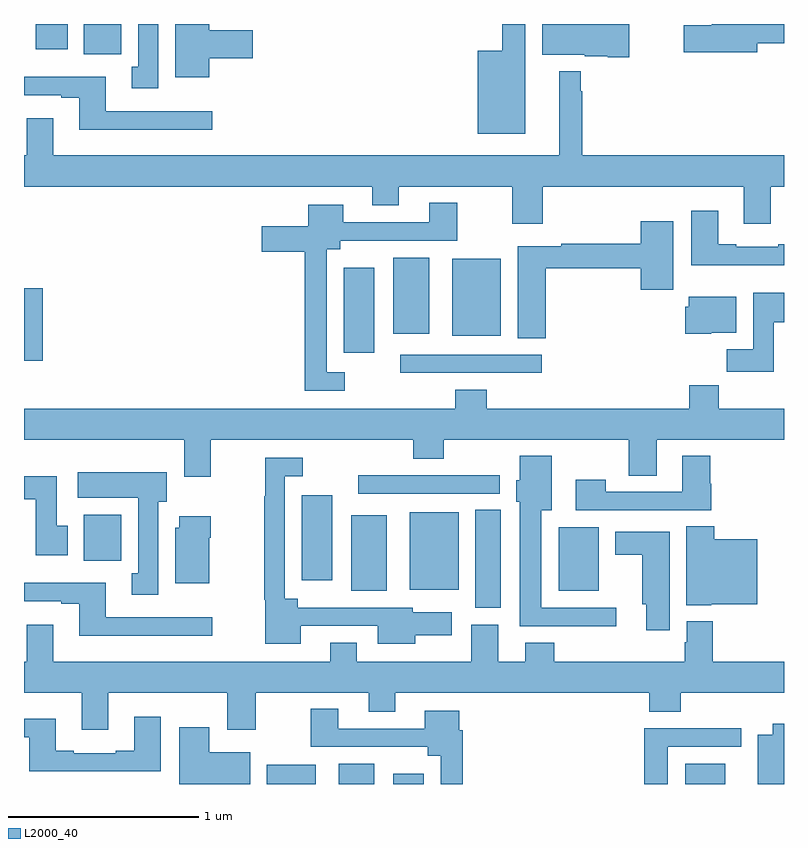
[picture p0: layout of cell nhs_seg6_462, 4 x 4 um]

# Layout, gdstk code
import gdstk
lib = gdstk.Library(unit=1e-6, precision=1e-09)
def R(c, l, rs):  # rectangles x0, y0, x1, y1
    for r in rs: c.add(gdstk.rectangle(r[:2], r[2:], *l))
def P(c, l, *ps):  # polygons
    for p in ps: c.add(gdstk.Polygon(p, *l))
L2000_40 = (2000, 40)

nhs_seg6_462 = lib.new_cell('nhs_seg6_462')
R(nhs_seg6_462, L2000_40, [(138.278,969.5,138.535,969.601), (138.656,969.5,138.844,969.607), (138.944,969.5,139.105,969.553), (140.48,969.5,140.692,969.607), (139.376,970.427,139.51,970.943), (138.722,970.517,138.91,970.915), (139.814,970.517,140.026,970.852), (139.031,970.523,139.288,970.93), (138.461,970.572,138.622,971.02), (137.315,970.676,137.512,970.918), (138.759,971.028,139.504,971.124), (138.981,971.664,139.726,971.76), (137,971.727,137.099,972.108), (138.683,971.769,138.844,972.217), (139.253,971.858,139.51,972.265), (138.944,971.87,139.132,972.271), (137.315,973.34,137.512,973.5), (137.063,973.368,137.23,973.5)])
P(nhs_seg6_462, L2000_40, [(140.185,973.5),(139.727,973.5),(139.727,973.337),(139.95,973.337),(139.95,973.331),(140.072,973.331),(140.072,973.325),(140.185,973.325)],
  [(137.707,973.5),(137.6,973.5),(137.6,973.274),(137.567,973.274),(137.567,973.161),(137.707,973.161)],
  [(140.86,973.399),(141,973.399),(141,973.5),(140.621,973.5),(140.621,973.494),(140.472,973.494),(140.472,973.352),(140.86,973.352)],
  [(137.974,973.319),(138.205,973.319),(138.205,973.466),(137.974,973.466),(137.974,973.5),(137.795,973.5),(137.795,973.22),(137.974,973.22)],
  [(139.639,973.5),(139.518,973.5),(139.518,973.36),(139.388,973.36),(139.388,972.923),(139.639,972.923)],
  [(139.73,972.644),(140.789,972.644),(140.789,972.45),(140.929,972.45),(140.929,972.644),(141,972.644),(141,972.808),(139.939,972.808),(139.939,973.145),(139.931,973.145),(139.931,973.252),(139.817,973.252),(139.817,972.808),(137.155,972.808),(137.155,973.003),(137.015,973.003),(137.015,972.808),(137,972.808),(137,972.644),(138.833,972.644),(138.833,972.545),(138.973,972.545),(138.973,972.644),(139.57,972.644),(139.57,972.45),(139.73,972.45)],
  [(137.992,973.041),(137.431,973.041),(137.431,973.222),(137,973.222),(137,973.125),(137.195,973.125),(137.195,973.113),(137.291,973.113),(137.291,972.944),(137.992,972.944)],
  [(138.688,971.667),(138.594,971.667),(138.594,972.314),(138.664,972.314),(138.664,972.36),(139.281,972.36),(139.281,972.559),(139.133,972.559),(139.133,972.456),(138.679,972.456),(138.679,972.55),(138.497,972.55),(138.497,972.436),(138.252,972.436),(138.252,972.302),(138.478,972.302),(138.478,971.571),(138.688,971.571)],
  [(141,972.34),(140.969,972.34),(140.969,972.327),(140.749,972.327),(140.749,972.34),(140.653,972.34),(140.653,972.517),(140.513,972.517),(140.513,972.23),(141,972.23)],
  [(139.745,972.214),(140.246,972.214),(140.246,972.102),(140.416,972.102),(140.416,972.463),(140.246,972.463),(140.246,972.343),(139.828,972.343),(139.828,972.33),(139.598,972.33),(139.598,971.845),(139.745,971.845)],
  [(140.947,971.929),(141,971.929),(141,972.085),(140.837,972.085),(140.837,971.788),(140.698,971.788),(140.698,971.67),(140.947,971.67)],
  [(140.616,971.876),(140.749,971.876),(140.749,972.064),(140.498,972.064),(140.498,972.012),(140.48,972.012),(140.48,971.87),(140.616,971.87)],
  [(137.983,971.312),(139.049,971.312),(139.049,971.213),(139.209,971.213),(139.209,971.312),(140.182,971.312),(140.182,971.122),(140.329,971.122),(140.329,971.312),(141,971.312),(141,971.476),(140.657,971.476),(140.657,971.6),(140.501,971.6),(140.501,971.476),(139.436,971.476),(139.436,971.575),(139.271,971.575),(139.271,971.476),(137,971.476),(137,971.312),(137.843,971.312),(137.843,971.118),(137.983,971.118)],
  [(140.116,970.428),(139.723,970.428),(139.723,970.94),(139.777,970.94),(139.777,971.227),(139.61,971.227),(139.61,971.1),(139.592,971.1),(139.592,970.986),(139.61,970.986),(139.61,970.331),(140.116,970.331)],
  [(140.618,971.079),(140.613,971.079),(140.613,971.227),(140.465,971.227),(140.465,971.037),(140.061,971.037),(140.061,971.101),(139.905,971.101),(139.905,970.941),(140.618,970.941)],
  [(138.457,970.332),(138.863,970.332),(138.863,970.238),(139.059,970.238),(139.059,970.283),(139.252,970.283),(139.252,970.405),(139.047,970.405),(139.047,970.428),(138.442,970.428),(138.442,970.474),(138.372,970.474),(138.372,971.121),(138.466,971.121),(138.466,971.217),(138.271,971.217),(138.271,971.014),(138.264,971.014),(138.264,970.47),(138.271,970.47),(138.271,970.238),(138.457,970.238)],
  [(137.707,970.986),(137.752,970.986),(137.752,971.14),(137.283,971.14),(137.283,971.006),(137.6,971.006),(137.6,970.61),(137.567,970.61),(137.567,970.497),(137.707,970.497)],
  [(137.23,970.86),(137.173,970.86),(137.173,971.119),(137,971.119),(137,971),(137.063,971),(137.063,970.704),(137.23,970.704)],
  [(137.974,970.796),(137.982,970.796),(137.982,970.909),(137.816,970.909),(137.816,970.848),(137.795,970.848),(137.795,970.556),(137.974,970.556)],
  [(140.616,970.445),(140.86,970.445),(140.86,970.789),(140.633,970.789),(140.633,970.856),(140.486,970.856),(140.486,970.442),(140.616,970.442)],
  [(140.398,970.828),(140.111,970.828),(140.111,970.706),(140.255,970.706),(140.255,970.446),(140.276,970.446),(140.276,970.308),(140.398,970.308)],
  [(137.992,970.377),(137.431,970.377),(137.431,970.558),(137,970.558),(137,970.461),(137.195,970.461),(137.195,970.449),(137.291,970.449),(137.291,970.28),(137.992,970.28)],
  [(137.443,969.98),(138.071,969.98),(138.071,969.786),(138.219,969.786),(138.219,969.98),(138.815,969.98),(138.815,969.881),(138.955,969.881),(138.955,969.98),(140.291,969.98),(140.291,969.881),(140.456,969.881),(140.456,969.98),(141,969.98),(141,970.144),(140.625,970.144),(140.625,970.357),(140.489,970.357),(140.489,970.245),(140.477,970.245),(140.477,970.144),(139.79,970.144),(139.79,970.243),(139.637,970.243),(139.637,970.144),(139.495,970.144),(139.495,970.339),(139.355,970.339),(139.355,970.144),(138.751,970.144),(138.751,970.243),(138.611,970.243),(138.611,970.144),(137.155,970.144),(137.155,970.339),(137.015,970.339),(137.015,970.144),(137,970.144),(137,969.98),(137.303,969.98),(137.303,969.786),(137.443,969.786)],
  [(139.31,969.782),(139.291,969.782),(139.291,969.886),(139.109,969.886),(139.109,969.792),(138.655,969.792),(138.655,969.895),(138.508,969.895),(138.508,969.696),(139.124,969.696),(139.124,969.65),(139.194,969.65),(139.194,969.5),(139.31,969.5)],
  [(137.719,969.853),(137.579,969.853),(137.579,969.676),(137.483,969.676),(137.483,969.663),(137.263,969.663),(137.263,969.676),(137.167,969.676),(137.167,969.844),(137,969.844),(137,969.747),(137.027,969.747),(137.027,969.566),(137.719,969.566)],
  [(141,969.817),(140.942,969.817),(140.942,969.76),(140.861,969.76),(140.861,969.5),(141,969.5)],
  [(138.19,969.667),(137.974,969.667),(137.974,969.799),(137.816,969.799),(137.816,969.5),(138.19,969.5)],
  [(140.389,969.696),(140.776,969.696),(140.776,969.794),(140.264,969.794),(140.264,969.5),(140.389,969.5)])

lib.write_gds('nhs_seg6_462.gds')
